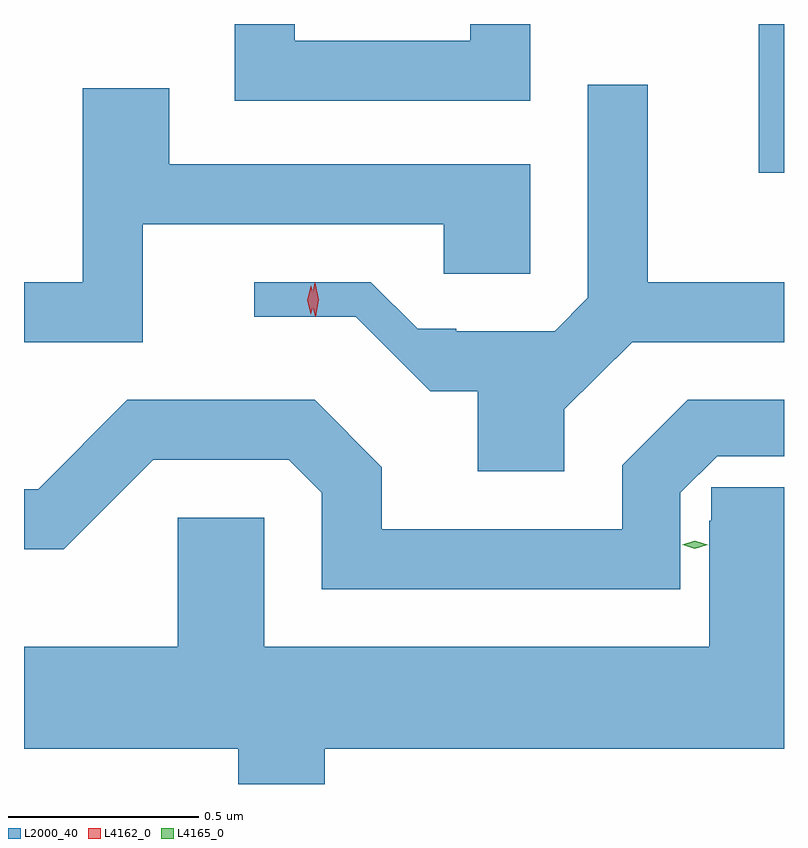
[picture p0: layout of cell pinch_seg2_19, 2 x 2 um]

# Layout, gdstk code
import gdstk
lib = gdstk.Library(unit=1e-6, precision=1e-09)
def R(c, l, rs):  # rectangles x0, y0, x1, y1
    for r in rs: c.add(gdstk.rectangle(r[:2], r[2:], *l))
def P(c, l, *ps):  # polygons
    for p in ps: c.add(gdstk.Polygon(p, *l))
L2000_40 = (2000, 40)
L4162_0 = (4162, 0)
L4165_0 = (4165, 0)

pinch_seg2_19 = lib.new_cell('pinch_seg2_19')
R(pinch_seg2_19, L2000_40, [(1669.961,1049.831,1670.027,1050.223)])
P(pinch_seg2_19, L2000_40, [(1669.359,1050.223),(1669.201,1050.223),(1669.201,1050.179),(1668.739,1050.179),(1668.739,1050.223),(1668.581,1050.223),(1668.581,1050.021),(1669.359,1050.021)],
  [(1669.449,1049.209),(1669.627,1049.386),(1670.027,1049.386),(1670.027,1049.544),(1669.669,1049.544),(1669.669,1050.063),(1669.511,1050.063),(1669.511,1049.502),(1669.424,1049.414),(1669.165,1049.414),(1669.165,1049.421),(1669.063,1049.421),(1668.94,1049.544),(1668.633,1049.544),(1668.633,1049.452),(1668.9,1049.452),(1669.096,1049.256),(1669.221,1049.256),(1669.221,1049.046),(1669.449,1049.046)],
  [(1668.339,1049.696),(1669.131,1049.696),(1669.131,1049.566),(1669.359,1049.566),(1669.359,1049.854),(1668.409,1049.854),(1668.409,1050.054),(1668.181,1050.054),(1668.181,1049.544),(1668.027,1049.544),(1668.027,1049.386),(1668.339,1049.386)],
  [(1669.754,1048.989),(1669.851,1049.086),(1670.027,1049.086),(1670.027,1049.234),(1669.774,1049.234),(1669.601,1049.062),(1669.601,1048.894),(1668.969,1048.894),(1668.969,1049.057),(1668.792,1049.234),(1668.299,1049.234),(1668.064,1048.999),(1668.027,1048.999),(1668.027,1048.841),(1668.132,1048.841),(1668.367,1049.076),(1668.724,1049.076),(1668.811,1048.989),(1668.811,1048.736),(1669.754,1048.736)],
  [(1670.027,1049.004),(1669.835,1049.004),(1669.835,1048.916),(1669.83,1048.916),(1669.83,1048.584),(1668.659,1048.584),(1668.659,1048.924),(1668.431,1048.924),(1668.431,1048.584),(1668.027,1048.584),(1668.027,1048.316),(1668.591,1048.316),(1668.591,1048.223),(1668.819,1048.223),(1668.819,1048.316),(1670.027,1048.316)])
P(pinch_seg2_19, L4162_0, [(1668.794,1049.452),(1668.794,1049.453),(1668.783,1049.497),(1668.792,1049.542),(1668.793,1049.543),(1668.793,1049.542),(1668.803,1049.498),(1668.795,1049.453)],
  [(1668.781,1049.459),(1668.772,1049.496),(1668.782,1049.533),(1668.782,1049.534),(1668.783,1049.533),(1668.792,1049.496),(1668.782,1049.459),(1668.782,1049.459)])
P(pinch_seg2_19, L4165_0, [(1669.792,1048.843),(1669.759,1048.852),(1669.758,1048.853),(1669.759,1048.853),(1669.792,1048.863),(1669.826,1048.853),(1669.826,1048.853),(1669.826,1048.852)],
  [(1669.792,1048.842),(1669.761,1048.852),(1669.76,1048.853),(1669.761,1048.853),(1669.792,1048.862),(1669.823,1048.852),(1669.823,1048.852),(1669.823,1048.851)])

lib.write_gds('pinch_seg2_19.gds')
